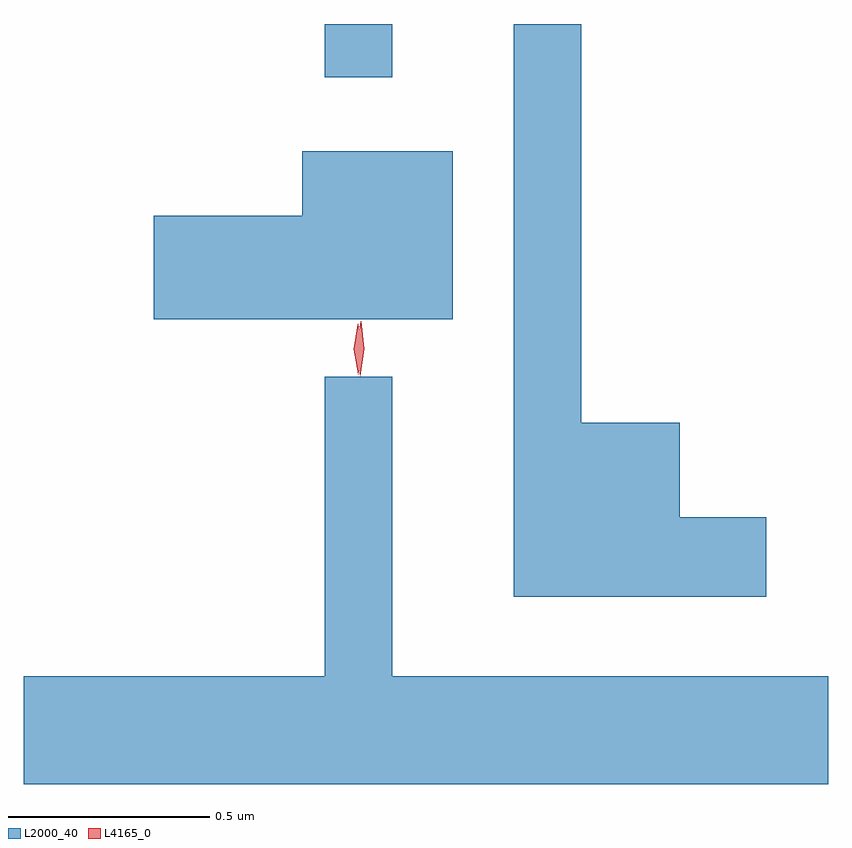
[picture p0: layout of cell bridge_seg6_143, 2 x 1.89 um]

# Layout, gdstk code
import gdstk
lib = gdstk.Library(unit=1e-6, precision=1e-09)
def R(c, l, rs):  # rectangles x0, y0, x1, y1
    for r in rs: c.add(gdstk.rectangle(r[:2], r[2:], *l))
def P(c, l, *ps):  # polygons
    for p in ps: c.add(gdstk.Polygon(p, *l))
L2000_40 = (2000, 40)
L4165_0 = (4165, 0)

bridge_seg6_143 = lib.new_cell('bridge_seg6_143')
R(bridge_seg6_143, L2000_40, [(1027.131,1613.953,1027.299,1614.085)])
P(bridge_seg6_143, L2000_40, [(1028.229,1612.859),(1028.014,1612.859),(1028.014,1613.094),(1027.769,1613.094),(1027.769,1614.085),(1027.601,1614.085),(1027.601,1612.661),(1028.229,1612.661)],
  [(1027.449,1613.769),(1027.076,1613.769),(1027.076,1613.609),(1026.706,1613.609),(1026.706,1613.351),(1027.449,1613.351)],
  [(1028.383,1612.464),(1027.299,1612.464),(1027.299,1613.208),(1027.131,1613.208),(1027.131,1612.464),(1026.383,1612.464),(1026.383,1612.196),(1028.383,1612.196)])
P(bridge_seg6_143, L4165_0, [(1027.22,1613.209),(1027.219,1613.21),(1027.21,1613.278),(1027.221,1613.346),(1027.221,1613.346),(1027.222,1613.346),(1027.23,1613.278),(1027.22,1613.21)],
  [(1027.215,1613.213),(1027.214,1613.214),(1027.204,1613.276),(1027.213,1613.339),(1027.214,1613.34),(1027.214,1613.339),(1027.224,1613.276),(1027.215,1613.214)])

lib.write_gds('bridge_seg6_143.gds')
